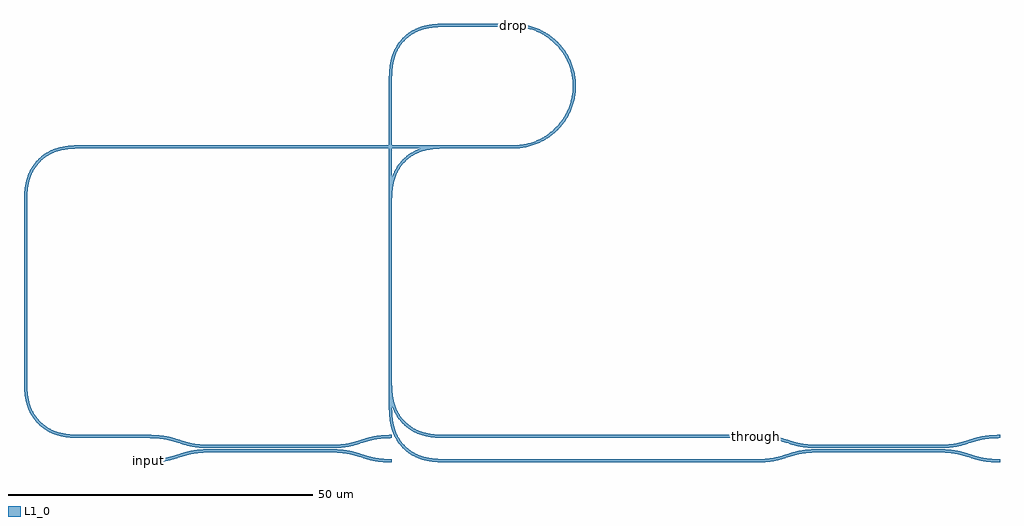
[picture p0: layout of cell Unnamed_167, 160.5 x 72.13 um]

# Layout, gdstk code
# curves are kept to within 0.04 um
from math import pi, radians
import gdstk
lib = gdstk.Library(unit=1e-6, precision=1e-09)
def R(c, l, rs):  # rectangles x0, y0, x1, y1
    for r in rs: c.add(gdstk.rectangle(r[:2], r[2:], *l))
def P(c, l, *ps):  # polygons
    for p in ps: c.add(gdstk.Polygon(p, *l))
L1_0 = (1, 0)

coupler_gdsfactorypcompo = lib.new_cell('coupler_gdsfactorypcomponentspcouplerspcoupler_G0p236_L_75dd060a')
P(coupler_gdsfactorypcompo, L1_0, [(-10,-1.882),(-10,-1.382),(-8.633,-1.335),(-7.417,-1.193),(-6.249,-0.938),(-4.05,-0.258),(-3.065,-0.019),(-1.652,0.182),(-0.303,0.248),(21.144,0.219),(22.346,0.103),(23.349,-0.08),(26.086,-0.893),(27.222,-1.159),(28.511,-1.326),(30,-1.382),(30,-1.882),(27.877,-1.764),(26.291,-1.466),(23.059,-0.528),(22.062,-0.364),(20.854,-0.267),(-0.297,-0.252),(-1.725,-0.327),(-3.059,-0.528),(-6.034,-1.397),(-7.335,-1.686),(-8.597,-1.834)],
  [(0,0.486),(-1.403,0.534),(-2.665,0.682),(-3.796,0.925),(-6.086,1.629),(-7.126,1.877),(-8.511,2.062),(-10,2.118),(-10,2.618),(-8.597,2.57),(-7.335,2.422),(-6.204,2.179),(-3.914,1.475),(-2.874,1.227),(-1.489,1.042),(0,0.986),(21.116,1.016),(22.17,1.114),(23.24,1.303),(25.95,2.11),(27.032,2.368),(28.348,2.55),(30,2.618),(30,2.118),(28.511,2.062),(27.222,1.895),(26.086,1.629),(23.532,0.858),(22.56,0.665),(21.403,0.534),(20,0.486)])

bend_circular_gdsfactory = lib.new_cell('bend_circular_gdsfactorypcomponentspbendspbend_circular_4b1750de')
P(bend_circular_gdsfactory, L1_0, [(0,-0.25),(0,0.25),(1.232,0.328),(2.204,0.502),(3.154,0.774),(4.294,1.246),(5.771,2.141),(7.067,3.283),(8.141,4.635),(8.642,5.486),(9.054,6.383),(9.374,7.318),(9.597,8.28),(9.75,10),(9.597,11.72),(9.374,12.682),(9.054,13.617),(8.642,14.514),(8.141,15.365),(7.067,16.717),(5.771,17.859),(4.294,18.754),(3.154,19.226),(2.204,19.498),(1.232,19.672),(0,19.75),(0,20.25),(1.037,20.197),(2.063,20.04),(2.82,19.855),(3.802,19.519),(4.746,19.085),(5.641,18.558),(6.477,17.944),(7.248,17.248),(7.944,16.477),(8.558,15.641),(9.085,14.746),(9.519,13.802),(9.855,12.82),(10.04,12.063),(10.197,11.037),(10.25,10),(10.197,8.963),(10.04,7.937),(9.855,7.18),(9.519,6.198),(9.085,5.254),(8.558,4.359),(7.944,3.523),(7.248,2.752),(6.477,2.056),(5.641,1.442),(4.746,0.915),(3.802,0.481),(2.82,0.145),(2.063,-0.04),(1.037,-0.197)])

bend_euler_gdsfactorypco = lib.new_cell('bend_euler_gdsfactorypcomponentspbendspbend_euler_R10_A_335c8724')
P(bend_euler_gdsfactorypco, L1_0, [(0,-0.25),(0,0.25),(1.655,0.269),(2.881,0.353),(3.952,0.52),(4.99,0.806),(5.731,1.113),(6.431,1.505),(7.575,2.425),(8.495,3.569),(8.887,4.269),(9.194,5.01),(9.48,6.048),(9.647,7.119),(9.731,8.345),(9.75,10),(10.25,10),(10.158,7.205),(10.023,6.224),(9.797,5.254),(9.457,4.312),(9.066,3.545),(8.5,2.715),(7.928,2.072),(7.285,1.5),(6.455,0.934),(5.688,0.543),(4.746,0.203),(3.776,-0.023),(2.795,-0.158)])

straight_gdsfactorypcomp = lib.new_cell('straight_gdsfactorypcomponentspwaveguidespstraight_L10p_f8441c0e')
R(straight_gdsfactorypcomp, L1_0, [(0,-0.25,10.25,0.25)])

c_straight_gdsfactorypcomp = lib.new_cell('straight_gdsfactorypcomponentspwaveguidespstraight_L27p_e6e3a64b')
R(c_straight_gdsfactorypcomp, L1_0, [(0,-0.25,27.632,0.25)])

c_straight_gdsfactorypcomp_ = lib.new_cell('straight_gdsfactorypcomponentspwaveguidespstraight_L70p_bbe51122')
R(c_straight_gdsfactorypcomp_, L1_0, [(0,-0.25,70.25,0.25)])

c_straight_gdsfactorypcomp__ = lib.new_cell('straight_gdsfactorypcomponentspwaveguidespstraight_L51p_26ae2434')
R(c_straight_gdsfactorypcomp__, L1_0, [(0,-0.25,51.632,0.25)])

c_straight_gdsfactorypcomp___ = lib.new_cell('straight_gdsfactorypcomponentspwaveguidespstraight_L50p_cc8dd0f6')
R(c_straight_gdsfactorypcomp___, L1_0, [(0,-0.25,50.25,0.25)])

unnamed_167 = lib.new_cell('Unnamed_167')
P(unnamed_167, L1_0, [(-10,-1.882),(-10.25,-1.632),(-10.062,-1.444),(-10.025,-1.444),(-10.215,-1.632),(-10.025,-1.632),(-10.025,-1.444),(-10.062,-1.444),(-10,-1.382)],
  [(90,2.118),(89.75,2.368),(89.938,2.556),(89.975,2.556),(89.785,2.368),(89.975,2.368),(89.975,2.556),(89.938,2.556),(90,2.618)],
  [(50,69.75),(49.75,70),(49.938,70.188),(49.975,70.188),(49.785,70),(49.975,70),(49.975,70.188),(49.938,70.188),(50,70.25)])
unnamed_167.add(gdstk.Reference(coupler_gdsfactorypcompo, (0,0)))
unnamed_167.add(gdstk.Reference(coupler_gdsfactorypcompo, (100,0)))
unnamed_167.add(gdstk.Reference(bend_circular_gdsfactory, (50,50)))
unnamed_167.add(gdstk.Reference(bend_euler_gdsfactorypco, (-30.25,12.368), rotation=3*pi/2))
unnamed_167.add(gdstk.Reference(straight_gdsfactorypcomp, (-10,2.368), rotation=pi))
unnamed_167.add(gdstk.Reference(bend_euler_gdsfactorypco, (-20.25,50), rotation=pi))
unnamed_167.add(gdstk.Reference(c_straight_gdsfactorypcomp, (-30.25,12.368), rotation=pi/2))
unnamed_167.add(gdstk.Reference(c_straight_gdsfactorypcomp_, (-20.25,50)))
unnamed_167.add(gdstk.Reference(bend_euler_gdsfactorypco, (29.75,60), rotation=pi/2, x_reflection=True))
unnamed_167.add(gdstk.Reference(straight_gdsfactorypcomp, (50,70), rotation=pi))
unnamed_167.add(gdstk.Reference(bend_euler_gdsfactorypco, (39.75,-1.632), rotation=pi, x_reflection=True))
unnamed_167.add(gdstk.Reference(c_straight_gdsfactorypcomp__, (29.75,60), rotation=3*pi/2))
unnamed_167.add(gdstk.Reference(c_straight_gdsfactorypcomp___, (39.75,-1.632)))
unnamed_167.add(gdstk.Reference(bend_euler_gdsfactorypco, (29.75,40), rotation=pi/2, x_reflection=True))
unnamed_167.add(gdstk.Reference(straight_gdsfactorypcomp, (50,50), rotation=pi))
unnamed_167.add(gdstk.Reference(bend_euler_gdsfactorypco, (39.75,2.368), rotation=pi, x_reflection=True))
unnamed_167.add(gdstk.Reference(c_straight_gdsfactorypcomp, (29.75,40), rotation=3*pi/2))
unnamed_167.add(gdstk.Reference(c_straight_gdsfactorypcomp___, (39.75,2.368)))
unnamed_167.add(gdstk.Label('input', (-10,-1.632), layer=1, texttype=0))
unnamed_167.add(gdstk.Label('through', (90,2.368), layer=1, texttype=0))
unnamed_167.add(gdstk.Label('drop', (50,70), layer=1, texttype=0))

lib.write_gds('Unnamed_167.gds')
